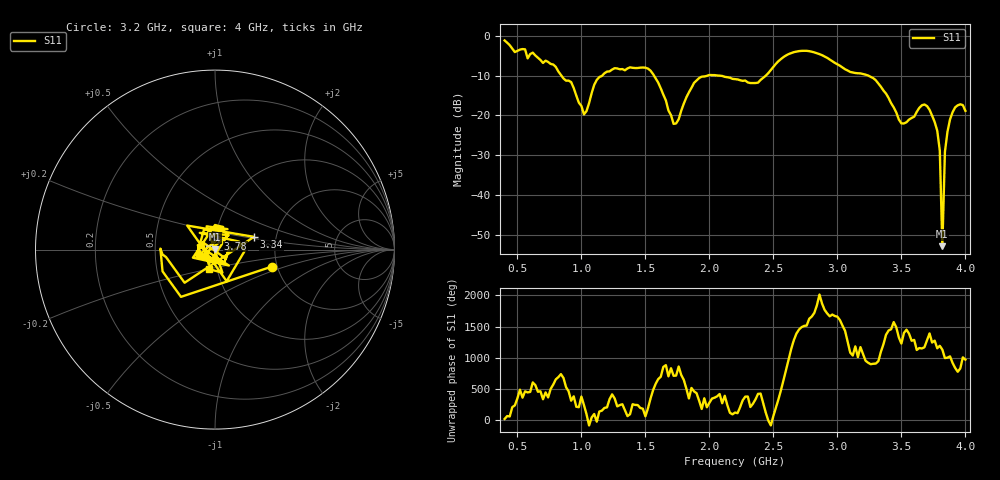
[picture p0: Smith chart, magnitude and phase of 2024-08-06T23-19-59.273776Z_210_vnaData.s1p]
!Created with skrf (http://scikit-rf.org).
# Hz S RI R 50.0
!freq ReS11 ImS11
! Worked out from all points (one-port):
!   181 points, 400 MHz to 4 GHz, reference 50 ohm
!   lowest |S11| = -52.8 dB at 3.82 GHz (marker M1), VSWR 1.00, Z = 50.1 + j0.179 ohm
!   |S11| at or under -10 dB: 1.567 GHz to 1.987 GHz (420.6 MHz wide, 23.7 % of centre); 2.069 GHz to 2.442 GHz (372.8 MHz wide, 16.5 % of centre); 3.24 GHz to end of sweep (the widest 3 of 4)
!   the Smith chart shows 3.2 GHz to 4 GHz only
!   S11 on the Smith chart (normalised r, x): 3.2 GHz: 1.87, -0.40; 3.34 GHz: 1.53, +0.23; 3.78 GHz: 1.03, +0.13; 4 GHz: 0.91, -0.20
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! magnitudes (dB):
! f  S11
! 400 MHz  -1.2
! 780 MHz  -7.2
! 860 MHz  -10.7
! 920 MHz  -11.6
! 1.02 GHz  -19.7
! 1.12 GHz  -11.1
! 1.3 GHz  -8.4
! 1.54 GHz  -8.8
! 1.72 GHz  -22.1
! 1.76 GHz  -21.0
! 1.92 GHz  -10.6
! 2.2 GHz  -10.9
! 2.38 GHz  -11.8
! 2.66 GHz  -4.1
! 2.84 GHz  -4.4
! 3.1 GHz  -9.1
! 3.2 GHz  -9.6
! 3.34 GHz  -12.8
! 3.5 GHz  -22.0
! 3.56 GHz  -21.0
! 3.68 GHz  -17.3
! 3.78 GHz  -23.8
! 3.8 GHz  -28.8
! 3.82 GHz  -52.8
! 3.84 GHz  -29.2
! 3.86 GHz  -24.1
! 3.92 GHz  -18.0
! 4 GHz  -18.9
